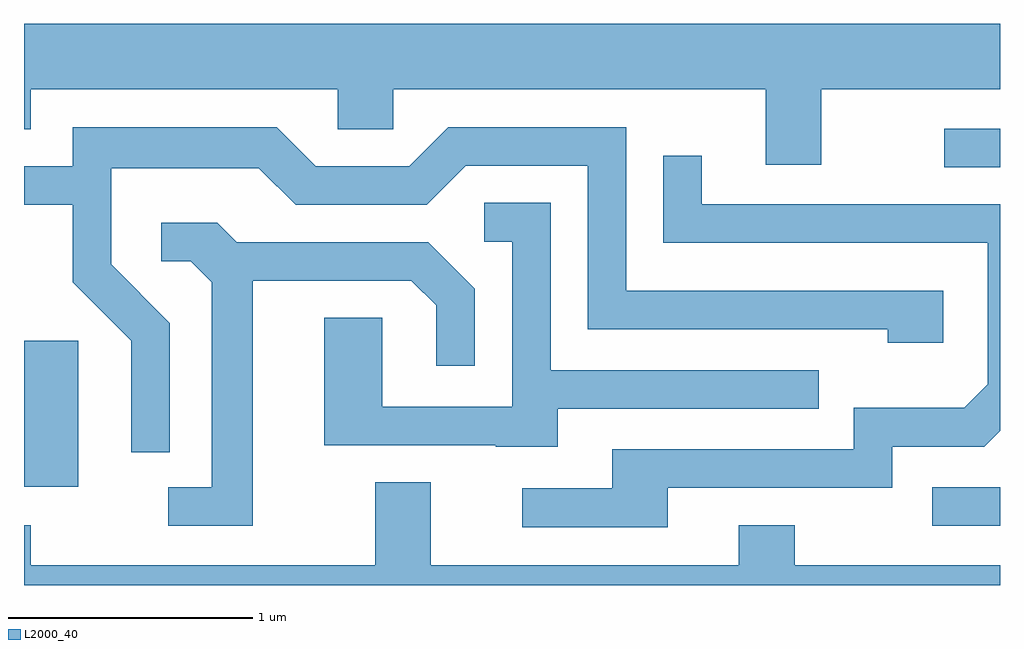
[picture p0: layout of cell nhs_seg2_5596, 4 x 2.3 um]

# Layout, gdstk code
import gdstk
lib = gdstk.Library(unit=1e-6, precision=1e-09)
def R(c, l, rs):  # rectangles x0, y0, x1, y1
    for r in rs: c.add(gdstk.rectangle(r[:2], r[2:], *l))
def P(c, l, *ps):  # polygons
    for p in ps: c.add(gdstk.Polygon(p, *l))
L2000_40 = (2000, 40)

nhs_seg2_5596 = lib.new_cell('nhs_seg2_5596')
R(nhs_seg2_5596, L2000_40, [(353.333,1082.046,353.611,1082.204), (349.611,1082.206,349.834,1082.804), (353.383,1083.516,353.611,1083.674)])
P(nhs_seg2_5596, L2000_40, [(352.879,1083.836),(353.611,1083.836),(353.611,1084.104),(349.611,1084.104),(349.611,1083.671),(349.639,1083.671),(349.639,1083.836),(350.896,1083.836),(350.896,1083.671),(351.124,1083.671),(351.124,1083.836),(352.651,1083.836),(352.651,1083.526),(352.879,1083.526)],
  [(350.209,1082.877),(349.969,1083.117),(349.969,1083.511),(350.574,1083.511),(350.724,1083.361),(351.262,1083.361),(351.422,1083.521),(351.921,1083.521),(351.921,1082.851),(353.151,1082.851),(353.151,1082.796),(353.379,1082.796),(353.379,1083.009),(352.079,1083.009),(352.079,1083.679),(351.349,1083.679),(351.189,1083.519),(350.807,1083.519),(350.647,1083.679),(349.811,1083.679),(349.811,1083.519),(349.611,1083.519),(349.611,1083.361),(349.811,1083.361),(349.811,1083.044),(350.051,1082.804),(350.051,1082.348),(350.209,1082.348)],
  [(352.249,1082.201),(353.169,1082.201),(353.169,1082.371),(353.547,1082.371),(353.611,1082.435),(353.611,1083.364),(352.389,1083.364),(352.389,1083.563),(352.231,1083.563),(352.231,1083.206),(353.561,1083.206),(353.561,1082.627),(353.464,1082.529),(353.011,1082.529),(353.011,1082.359),(352.021,1082.359),(352.021,1082.199),(351.653,1082.199),(351.653,1082.041),(352.249,1082.041)],
  [(351.799,1082.526),(352.868,1082.526),(352.868,1082.684),(351.769,1082.684),(351.769,1083.369),(351.498,1083.369),(351.498,1083.211),(351.611,1083.211),(351.611,1082.534),(351.079,1082.534),(351.079,1082.899),(350.841,1082.899),(350.841,1082.376),(351.545,1082.376),(351.545,1082.371),(351.799,1082.371)],
  [(350.549,1083.051),(351.199,1083.051),(351.301,1082.949),(351.301,1082.703),(351.459,1082.703),(351.459,1083.017),(351.267,1083.209),(350.482,1083.209),(350.402,1083.289),(350.173,1083.289),(350.173,1083.131),(350.294,1083.131),(350.381,1083.044),(350.381,1082.204),(350.203,1082.204),(350.203,1082.046),(350.549,1082.046)],
  [(353.611,1081.884),(352.769,1081.884),(352.769,1082.049),(352.541,1082.049),(352.541,1081.884),(351.279,1081.884),(351.279,1082.224),(351.051,1082.224),(351.051,1081.884),(349.639,1081.884),(349.639,1082.049),(349.611,1082.049),(349.611,1081.802),(353.611,1081.802)])

lib.write_gds('nhs_seg2_5596.gds')
